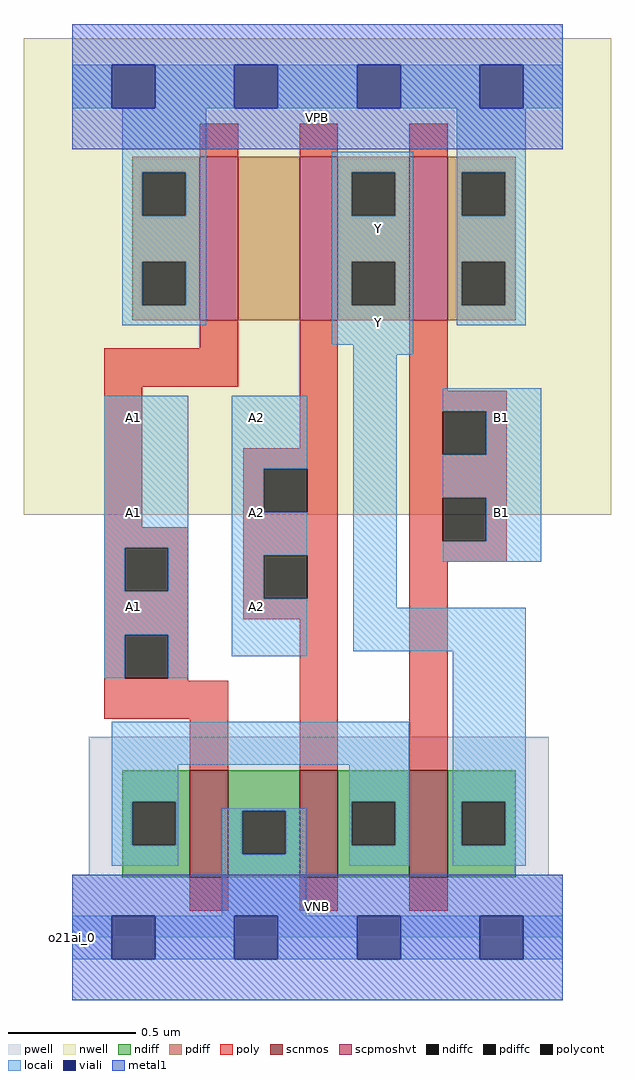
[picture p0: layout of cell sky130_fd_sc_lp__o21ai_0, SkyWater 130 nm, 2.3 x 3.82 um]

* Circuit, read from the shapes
.subckt sky130_fd_sc_lp__o21ai_0 A1 A2 B1 VGND VNB VPB VPWR Y
XM1 VGND A1 n1 VNB sky130_fd_pr__nfet_01v8 w=0.42 l=0.15
XM2 n1 A2 VGND VNB sky130_fd_pr__nfet_01v8 w=0.42 l=0.15
XM3 Y B1 n1 VNB sky130_fd_pr__nfet_01v8 w=0.42 l=0.15
XM4 n2 A1 VPWR VPB sky130_fd_pr__pfet_01v8_hvt w=0.64 l=0.15
XM5 Y A2 n2 VPB sky130_fd_pr__pfet_01v8_hvt w=0.64 l=0.15
XM6 VPWR B1 Y VPB sky130_fd_pr__pfet_01v8_hvt w=0.64 l=0.15
.ends

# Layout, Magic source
magic
tech sky130A
magscale 1 2
<< nwell >>
rect -38 331 422 704
<< pwell >>
rect 13 49 373 157
rect 0 0 384 49
<< scnmos >>
rect 92 47 122 131
rect 178 47 208 131
rect 264 47 294 131
<< scpmoshvt >>
rect 100 483 130 611
rect 178 483 208 611
rect 264 483 294 611
<< ndiff >>
rect 39 106 92 131
rect 39 72 47 106
rect 81 72 92 106
rect 39 47 92 72
rect 122 99 178 131
rect 122 65 133 99
rect 167 65 178 99
rect 122 47 178 65
rect 208 106 264 131
rect 208 72 219 106
rect 253 72 264 106
rect 208 47 264 72
rect 294 106 347 131
rect 294 72 305 106
rect 339 72 347 106
rect 294 47 347 72
<< pdiff >>
rect 47 599 100 611
rect 47 565 55 599
rect 89 565 100 599
rect 47 529 100 565
rect 47 495 55 529
rect 89 495 100 529
rect 47 483 100 495
rect 130 483 178 611
rect 208 599 264 611
rect 208 565 219 599
rect 253 565 264 599
rect 208 529 264 565
rect 208 495 219 529
rect 253 495 264 529
rect 208 483 264 495
rect 294 599 347 611
rect 294 565 305 599
rect 339 565 347 599
rect 294 529 347 565
rect 294 495 305 529
rect 339 495 347 529
rect 294 483 347 495
<< ndiffc >>
rect 47 72 81 106
rect 133 65 167 99
rect 219 72 253 106
rect 305 72 339 106
<< pdiffc >>
rect 55 565 89 599
rect 55 495 89 529
rect 219 565 253 599
rect 219 495 253 529
rect 305 565 339 599
rect 305 495 339 529
<< poly >>
rect 100 611 130 637
rect 178 611 208 637
rect 264 611 294 637
rect 100 461 130 483
rect 25 431 130 461
rect 25 321 55 431
rect 178 383 208 483
rect 134 367 208 383
rect 134 333 150 367
rect 184 333 208 367
rect 25 305 91 321
rect 25 271 41 305
rect 75 271 91 305
rect 25 237 91 271
rect 134 299 208 333
rect 134 265 150 299
rect 184 265 208 299
rect 134 249 208 265
rect 25 203 41 237
rect 75 203 91 237
rect 25 201 91 203
rect 25 171 122 201
rect 92 131 122 171
rect 178 131 208 249
rect 264 428 294 483
rect 264 412 340 428
rect 264 378 290 412
rect 324 378 340 412
rect 264 344 340 378
rect 264 310 290 344
rect 324 310 340 344
rect 264 294 340 310
rect 264 131 294 294
rect 92 21 122 47
rect 178 21 208 47
rect 264 21 294 47
<< polycont >>
rect 150 333 184 367
rect 41 271 75 305
rect 150 265 184 299
rect 41 203 75 237
rect 290 378 324 412
rect 290 310 324 344
<< locali >>
rect 0 649 31 683
rect 65 649 127 683
rect 161 649 223 683
rect 257 649 319 683
rect 353 649 384 683
rect 39 599 105 649
rect 39 565 55 599
rect 89 565 105 599
rect 39 529 105 565
rect 39 495 55 529
rect 89 495 105 529
rect 39 479 105 495
rect 203 599 267 615
rect 203 565 219 599
rect 253 565 267 599
rect 203 529 267 565
rect 203 495 219 529
rect 253 495 267 529
rect 203 464 267 495
rect 301 599 355 649
rect 301 565 305 599
rect 339 565 355 599
rect 301 529 355 565
rect 301 495 305 529
rect 339 495 355 529
rect 301 479 355 495
rect 220 456 267 464
rect 25 305 91 424
rect 25 271 41 305
rect 75 271 91 305
rect 25 237 91 271
rect 25 203 41 237
rect 75 203 91 237
rect 125 367 184 424
rect 125 333 150 367
rect 125 299 184 333
rect 125 265 150 299
rect 125 220 184 265
rect 220 258 254 456
rect 290 412 367 430
rect 324 378 367 412
rect 290 344 367 378
rect 324 310 367 344
rect 290 294 367 310
rect 220 224 355 258
rect 31 135 264 169
rect 31 106 83 135
rect 31 72 47 106
rect 81 72 83 106
rect 217 106 264 135
rect 31 56 83 72
rect 117 99 183 101
rect 117 65 133 99
rect 167 65 183 99
rect 117 17 183 65
rect 217 72 219 106
rect 253 72 264 106
rect 217 56 264 72
rect 298 106 355 224
rect 298 72 305 106
rect 339 72 355 106
rect 298 56 355 72
rect 0 -17 31 17
rect 65 -17 127 17
rect 161 -17 223 17
rect 257 -17 319 17
rect 353 -17 384 17
<< viali >>
rect 31 649 65 683
rect 127 649 161 683
rect 223 649 257 683
rect 319 649 353 683
rect 31 -17 65 17
rect 127 -17 161 17
rect 223 -17 257 17
rect 319 -17 353 17
<< metal1 >>
rect 0 683 384 715
rect 0 649 31 683
rect 65 649 127 683
rect 161 649 223 683
rect 257 649 319 683
rect 353 649 384 683
rect 0 617 384 649
rect 0 17 384 49
rect 0 -17 31 17
rect 65 -17 127 17
rect 161 -17 223 17
rect 257 -17 319 17
rect 353 -17 384 17
rect 0 -49 384 -17
<< labels >>
flabel pwell s 0 0 384 49 0 FreeSans 200 0 0 0 VNB
port 5 nsew ground bidirectional
flabel nwell s 0 617 384 666 0 FreeSans 200 0 0 0 VPB
port 6 nsew power bidirectional
rlabel comment s 0 0 0 0 4 o21ai_0
flabel metal1 s 0 617 384 666 0 FreeSans 340 0 0 0 VPWR
port 7 nsew power bidirectional
flabel metal1 s 0 0 384 49 0 FreeSans 340 0 0 0 VGND
port 4 nsew ground bidirectional
flabel locali s 31 242 65 276 0 FreeSans 340 0 0 0 A1
port 1 nsew signal input
flabel locali s 31 316 65 350 0 FreeSans 340 0 0 0 A1
port 1 nsew signal input
flabel locali s 31 390 65 424 0 FreeSans 340 0 0 0 A1
port 1 nsew signal input
flabel locali s 127 242 161 276 0 FreeSans 340 0 0 0 A2
port 2 nsew signal input
flabel locali s 127 316 161 350 0 FreeSans 340 0 0 0 A2
port 2 nsew signal input
flabel locali s 127 390 161 424 0 FreeSans 340 0 0 0 A2
port 2 nsew signal input
flabel locali s 223 464 257 498 0 FreeSans 340 0 0 0 Y
port 8 nsew signal output
flabel locali s 223 538 257 572 0 FreeSans 340 0 0 0 Y
port 8 nsew signal output
flabel locali s 319 316 353 350 0 FreeSans 340 0 0 0 B1
port 3 nsew signal input
flabel locali s 319 390 353 424 0 FreeSans 340 0 0 0 B1
port 3 nsew signal input
<< properties >>
string LEFsite unit
string LEFclass CORE
string FIXED_BBOX 0 0 384 666
string GDS_FILE $PDKPATH/libs.ref/sky130_fd_sc_lp/gds/sky130_fd_sc_lp.gds
string LEFsymmetry X Y R90
string GDS_END 4542186
string GDS_START 4536992
<< end >>
